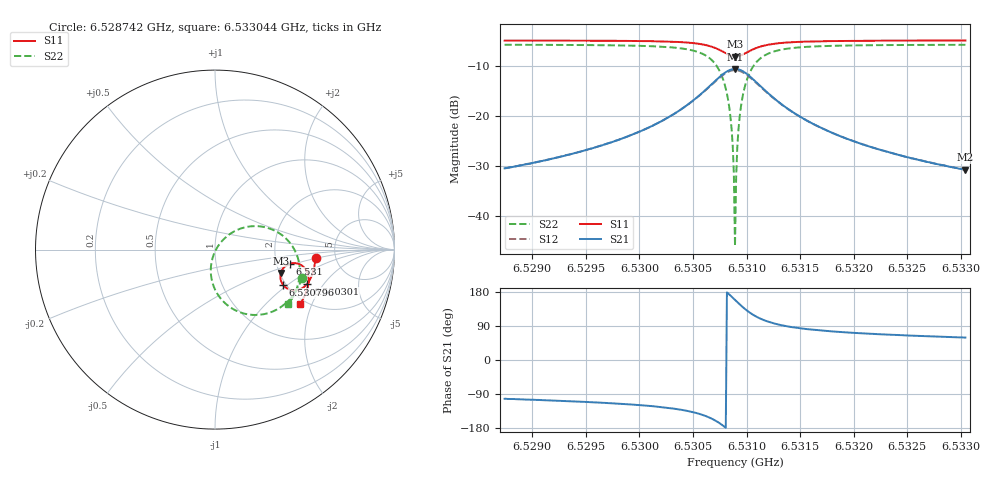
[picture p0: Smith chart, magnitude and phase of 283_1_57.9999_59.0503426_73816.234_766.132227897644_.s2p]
#  HZ  S  RI  R  50.00
! Rohde & Schwarz Vector Network Analyzer
! Rohde-Schwarz,ZNB20-2Port,1311601062101988,3.16
! Created: UTC 3/21/2024, 1:02:57 AM
! freq[Hz]  re:S11  im:S11  re:S21  im:S21  re:S12  im:S12  re:S22  im:S22
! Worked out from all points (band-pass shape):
!   401 points, 6.528742 GHz to 6.533044 GHz, reference 50 ohm
!   highest |S21| = -10.65 dB at 6.530893 GHz (marker M1); lowest = -30.8 dB at 6.533044 GHz (marker M2)
!   |S21| within 3 dB of the highest: 6.530678 GHz to 6.531108 GHz (430.1 kHz wide, 0.00659 % of centre)
!   lowest |S11| = -8.2 dB at 6.530893 GHz (marker M3), VSWR 2.27, Z = 102 - j31 ohm
!   |S11| at or under -10 dB: nowhere
!   |S22| runs from -46.0 to -5.8 dB; largest |S21 - S12| = 0.011
!   S11 on the Smith chart (normalised r, x): 6.528742 GHz: 3.50, -0.46; 6.530301 GHz: 2.57, -1.39; 6.530796 GHz: 1.93, -0.92; 6.531 GHz: 2.38, -0.45; 6.533044 GHz: 1.86, -1.65
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6.5287415e9  0.5602 -0.0454  -0.00642 -0.0292  -0.00687 -0.029  0.4858 -0.1576
6.5294621e9  0.5511 -0.1047  -0.0154 -0.0415  -0.0163 -0.0412  0.4561 -0.2225
6.5301828e9  0.5244 -0.1754  -0.0473 -0.0713  -0.0494 -0.0701  0.3779 -0.3124
6.5303011e9  0.5144 -0.1895  -0.0614 -0.0799  -0.0637 -0.078  0.3485 -0.3317
6.5306452e9  0.4448 -0.227  -0.1682 -0.0938  -0.1701 -0.0868  0.1492 -0.3526
6.5307313e9  0.4079 -0.2195  -0.2251 -0.0664  -0.2238 -0.0571  0.055 -0.2974
6.5307958e9  0.379 -0.196  -0.2669 -0.0161  -0.2617 -0.00659  -0.00694 -0.206
6.5308281e9  0.3687 -0.1768  -0.28 0.0209  -0.2726 0.0292  -0.0224 -0.1426
6.5308496e9  0.3649 -0.1618  -0.2833 0.0489  -0.2745 0.0559  -0.0227 -0.096
6.5308603e9  0.364 -0.1538  -0.2829 0.0634  -0.2737 0.0697  -0.0198 -0.0723
6.5308711e9  0.3642 -0.1457  -0.2812 0.078  -0.2715 0.0834  -0.0141 -0.0488
6.5308818e9  0.3651 -0.1375  -0.2779 0.0925  -0.2679 0.0971  -0.00639 -0.0257
6.5308926e9  0.3668 -0.1297  -0.2733 0.1069  -0.263 0.1104  0.00382 -0.00321
6.5309141e9  0.3731 -0.1144  -0.2596 0.1334  -0.2497 0.1353  0.0305 0.038
6.5309249e9  0.3775 -0.1076  -0.2514 0.1454  -0.2413 0.1465  0.0465 0.0559
6.5309464e9  0.3879 -0.0957  -0.2313 0.1664  -0.2221 0.1659  0.0826 0.0867
6.5310002e9  0.4193 -0.0778  -0.1736 0.1973  -0.1671 0.1947  0.1827 0.1275
6.5310754e9  0.4605 -0.078  -0.1016 0.1998  -0.0982 0.197  0.3035 0.1178
6.531183e9  0.4965 -0.0995  -0.0394 0.1705  -0.0377 0.1689  0.4036 0.0536
6.5316132e9  0.5217 -0.1782  0.0145 0.0825  0.0156 0.0822  0.4725 -0.1313
6.5323338e9  0.5027 -0.2504  0.0169 0.0395  0.0177 0.0393  0.4442 -0.245
6.5330437e9  0.4756 -0.303  0.0148 0.0248  0.0154 0.0246  0.4089 -0.3054
